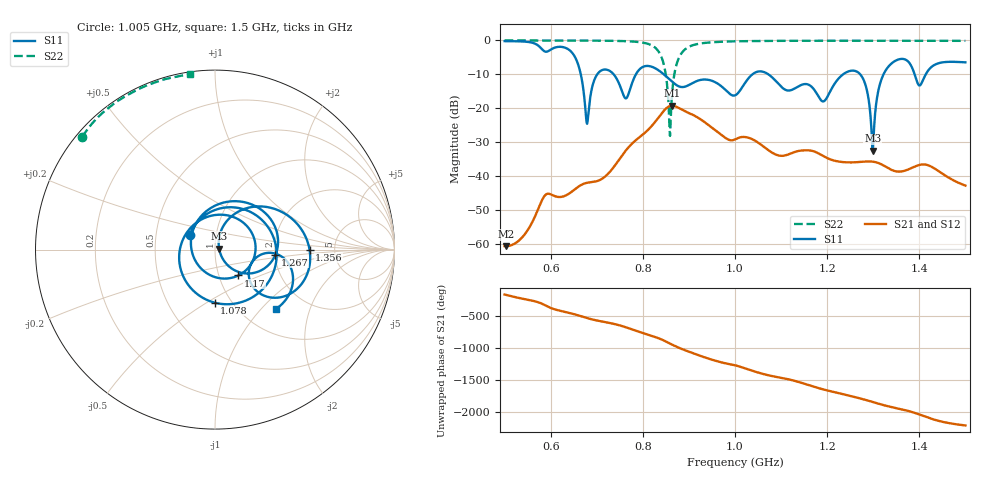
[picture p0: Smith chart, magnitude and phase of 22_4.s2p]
! TOUCHSTONE file generated by CST MICROWAVE STUDIO
! Date and time: Sat Nov 14 20:01:23 2020
! Project name: Scenario_1_Planar_Body_Tissue_Out_of_Line.cst
! Parameters = {dy1=-17.3; L_HA=400; Ltissue=700; MT=2.54; Rad_Dielectric=30; Rad_Lower=7.3; Rad_Upper=30; Wtissue=700; a_HA=580; a_WG=246; b_HA=500; b_WG=121; c_HA=0; c_WG=187; d_feed=85; dx1=693; h_feed=15; h_lower=18; h_upper=40; hfat=3; hgap=25; hmuscle=50; hskin=1.5}
! Header version: 2018
! Port assignment regex: !\s*Touchstone port\s*([0-9]+)\s*=\s*(CST MWS port|CST DS port)\s*([0-9]+|Zmin|Zmax)\s*\(\"(.*)\"\)(\s*mode\s*([0-9]+))?.*
! Touchstone port assignment:
! Touchstone port 1 = CST MWS port 1 ("")
! Touchstone port 2 = CST MWS port 2 ("")
# GHz S DB R 50
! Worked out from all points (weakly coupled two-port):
!   1003 points, 500 MHz to 1.5 GHz, reference 50 ohm
!   highest |S21| = -19.29 dB at 863 MHz (marker M1); lowest = -60.8 dB at 503 MHz (marker M2)
!   lowest |S11| = -32.5 dB at 1.299 GHz (marker M3), VSWR 1.05, Z = 52.3 + j0.631 ohm
!   |S11| at or under -10 dB: 845.4 MHz to 1.038 GHz (192.5 MHz wide, 20.4 % of centre); 1.072 GHz to 1.235 GHz (162.4 MHz wide, 14.1 % of centre); 1.272 GHz to 1.322 GHz (50.72 MHz wide, 3.91 % of centre)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
!   |S22| runs from -28.2 to 0.0 dB; largest |S21 - S12| = 1.1e-05
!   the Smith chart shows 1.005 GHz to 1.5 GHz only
!   S11 on the Smith chart (normalised r, x): 1.005 GHz: 0.74, +0.12; 1.078 GHz: 0.84, -0.54; 1.17 GHz: 1.24, -0.37; 1.267 GHz: 2.01, -0.13; 1.356 GHz: 3.23, +0.00; 1.5 GHz: 1.42, -1.22
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0.5  -0.21 -121.5  -60.76 -169.8  -60.76 -169.8  -0.01 151.1
0.503  -0.21 -122.8  -60.77 -175.2  -60.77 -175.2  -0.01 151.0
0.622  -1.89 173.2  -46.24 -65.0  -46.24 -65.0  -0.02 142.4
0.667  -11.14 96.5  -42.62 -149.8  -42.62 -149.8  -0.04 138.4
0.679  -24.64 148.0  -42.05 -175.9  -42.05 -175.9  -0.05 137.2
0.709  -8.94 161.3  -41.07 134.0  -41.07 134.0  -0.08 133.8
0.777  -12.47 -120.9  -30.43 6.7  -30.43 6.7  -0.31 121.4
0.834  -8.82 58.2  -22.77 -129.5  -22.77 -129.5  -3.25 84.7
0.863  -12.10 -33.5  -19.29 133.1  -19.29 133.1  -16.47 -131.2
0.89  -13.71 -143.9  -20.83 47.9  -20.83 47.9  -2.82 177.6
0.949  -11.88 7.2  -25.69 -101.6  -25.69 -101.6  -0.56 149.3
1  -16.22 175.5  -29.24 169.9  -29.24 169.9  -0.26 140.3
1.005  -15.76 149.9  -28.91 160.6  -28.91 160.6  -0.25 139.6
1.047  -9.30 -0.6  -29.90 63.4  -29.90 63.4  -0.17 134.8
1.078  -10.59 -90.5  -32.93 5.1  -32.93 5.1  -0.14 131.8
1.167  -13.78 -36.7  -32.61 -153.6  -32.61 -153.6  -0.09 124.2
1.17  -14.23 -47.8  -32.72 -160.5  -32.72 -160.5  -0.09 124.0
1.267  -9.42 -4.8  -35.94 22.4  -35.94 22.4  -0.08 116.6
1.299  -32.54 14.8  -35.81 -41.2  -35.81 -41.2  -0.08 114.2
1.334  -7.57 31.2  -37.85 -111.5  -37.85 -111.5  -0.09 111.5
1.356  -5.57 0.0  -38.75 -146.0  -38.75 -146.0  -0.09 109.9
1.5  -6.47 -44.2  -42.88 -46.6  -42.88 -46.6  -0.12 98.0
